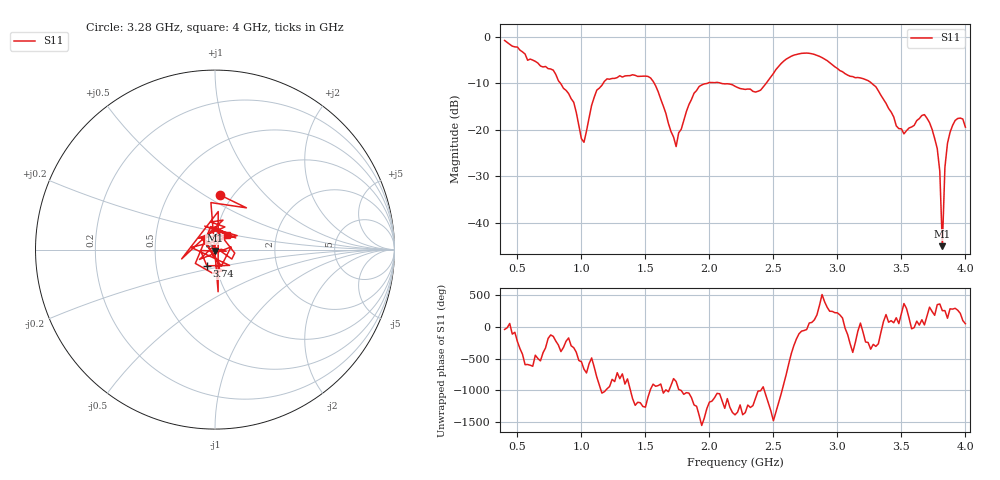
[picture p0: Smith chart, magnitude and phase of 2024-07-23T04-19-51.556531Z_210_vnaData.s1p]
!Created with skrf (http://scikit-rf.org).
# Hz S RI R 50.0
!freq ReS11 ImS11
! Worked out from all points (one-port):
!   181 points, 400 MHz to 4 GHz, reference 50 ohm
!   lowest |S11| = -45.0 dB at 3.82 GHz (marker M1), VSWR 1.01, Z = 49.9 - j0.545 ohm
!   |S11| at or under -10 dB: 1.569 GHz to 1.983 GHz (413.9 MHz wide, 23.3 % of centre); 2.093 GHz to 2.443 GHz (349.6 MHz wide, 15.4 % of centre); 3.269 GHz to end of sweep (the widest 3 of 4)
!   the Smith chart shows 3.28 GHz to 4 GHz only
!   S11 on the Smith chart (normalised r, x): 3.28 GHz: 0.87, +0.59; 3.74 GHz: 0.90, -0.16; 4 GHz: 1.13, +0.19
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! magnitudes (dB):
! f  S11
! 400 MHz  -0.8
! 780 MHz  -7.2
! 860 MHz  -11.1
! 940 MHz  -14.1
! 1.02 GHz  -22.7
! 1.12 GHz  -11.5
! 1.3 GHz  -8.4
! 1.54 GHz  -8.8
! 1.74 GHz  -23.6
! 1.76 GHz  -20.6
! 1.92 GHz  -10.7
! 2.2 GHz  -10.6
! 2.4 GHz  -11.5
! 2.66 GHz  -3.9
! 2.84 GHz  -4.0
! 3.1 GHz  -8.5
! 3.28 GHz  -10.3
! 3.46 GHz  -19.1
! 3.56 GHz  -19.6
! 3.68 GHz  -16.7
! 3.74 GHz  -19.9
! 3.78 GHz  -24.0
! 3.8 GHz  -28.9
! 3.82 GHz  -45.0
! 3.84 GHz  -28.1
! 3.86 GHz  -22.9
! 3.92 GHz  -18.0
! 4 GHz  -19.4
